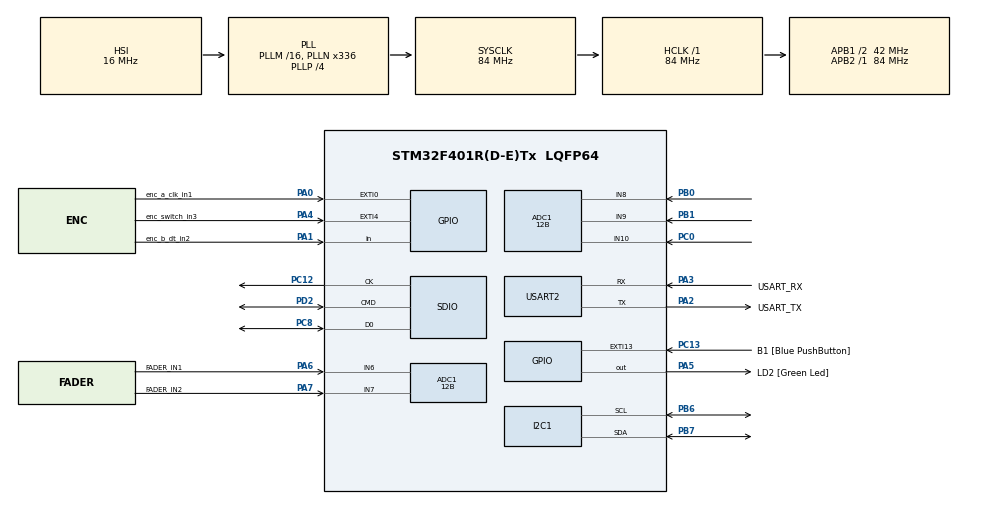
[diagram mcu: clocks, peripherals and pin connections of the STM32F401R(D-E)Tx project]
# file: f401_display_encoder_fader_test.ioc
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ADC1.Channel-0\#ChannelRegularConversion=ADC_CHANNEL_6
ADC1.Channel-1\#ChannelRegularConversion=ADC_CHANNEL_7
ADC1.Channel-2\#ChannelInjectedConversion=ADC_CHANNEL_6
ADC1.Channel-5\#ChannelRegularConversion=ADC_CHANNEL_8
ADC1.Channel-6\#ChannelRegularConversion=ADC_CHANNEL_9
ADC1.Channel-7\#ChannelRegularConversion=ADC_CHANNEL_10
ADC1.ContinuousConvMode=ENABLE
ADC1.DMAContinuousRequests=ENABLE
ADC1.DiscontinuousConvMode=DISABLE
ADC1.EOCSelection=ADC_EOC_SINGLE_CONV
ADC1.InjNumberOfConversion=1
ADC1.InjectedOffset-2\#ChannelInjectedConversion=0
ADC1.InjectedRank-2\#ChannelInjectedConversion=1
ADC1.NbrOfConversion=5
ADC1.NbrOfConversionFlag=1
ADC1.Rank-0\#ChannelRegularConversion=1
ADC1.Rank-1\#ChannelRegularConversion=2
ADC1.Rank-5\#ChannelRegularConversion=3
ADC1.Rank-6\#ChannelRegularConversion=4
ADC1.Rank-7\#ChannelRegularConversion=5
ADC1.Resolution=ADC_RESOLUTION_12B
ADC1.SamplingTime-0\#ChannelRegularConversion=ADC_SAMPLETIME_3CYCLES
ADC1.SamplingTime-1\#ChannelRegularConversion=ADC_SAMPLETIME_3CYCLES
ADC1.SamplingTime-2\#ChannelInjectedConversion=ADC_SAMPLETIME_3CYCLES
ADC1.SamplingTime-5\#ChannelRegularConversion=ADC_SAMPLETIME_3CYCLES
ADC1.SamplingTime-6\#ChannelRegularConversion=ADC_SAMPLETIME_3CYCLES
ADC1.SamplingTime-7\#ChannelRegularConversion=ADC_SAMPLETIME_3CYCLES
ADC1.master=1
Dma.ADC1.0.Direction=DMA_PERIPH_TO_MEMORY
Dma.ADC1.0.FIFOMode=DMA_FIFOMODE_DISABLE
Dma.ADC1.0.Instance=DMA2_Stream0
Dma.ADC1.0.MemDataAlignment=DMA_MDATAALIGN_WORD
Dma.ADC1.0.MemInc=DMA_MINC_ENABLE
Dma.ADC1.0.Mode=DMA_CIRCULAR
Dma.ADC1.0.PeriphDataAlignment=DMA_PDATAALIGN_WORD
Dma.ADC1.0.PeriphInc=DMA_PINC_DISABLE
Dma.ADC1.0.Priority=DMA_PRIORITY_LOW
Dma.Request0=ADC1
Dma.Request1=SDIO_RX
Dma.Request2=SDIO_TX
Dma.SDIO_RX.1.Direction=DMA_PERIPH_TO_MEMORY
Dma.SDIO_RX.1.FIFOMode=DMA_FIFOMODE_ENABLE
Dma.SDIO_RX.1.FIFOThreshold=DMA_FIFO_THRESHOLD_FULL
Dma.SDIO_RX.1.Instance=DMA2_Stream3
Dma.SDIO_RX.1.MemBurst=DMA_MBURST_INC4
Dma.SDIO_RX.1.MemDataAlignment=DMA_MDATAALIGN_WORD
Dma.SDIO_RX.1.MemInc=DMA_MINC_ENABLE
Dma.SDIO_RX.1.Mode=DMA_PFCTRL
Dma.SDIO_RX.1.PeriphBurst=DMA_PBURST_INC4
Dma.SDIO_RX.1.PeriphDataAlignment=DMA_PDATAALIGN_WORD
Dma.SDIO_RX.1.PeriphInc=DMA_PINC_DISABLE
Dma.SDIO_RX.1.Priority=DMA_PRIORITY_LOW
Dma.SDIO_TX.2.Direction=DMA_MEMORY_TO_PERIPH
Dma.SDIO_TX.2.FIFOMode=DMA_FIFOMODE_ENABLE
Dma.SDIO_TX.2.FIFOThreshold=DMA_FIFO_THRESHOLD_FULL
Dma.SDIO_TX.2.Instance=DMA2_Stream6
Dma.SDIO_TX.2.MemBurst=DMA_MBURST_INC4
Dma.SDIO_TX.2.MemDataAlignment=DMA_MDATAALIGN_WORD
Dma.SDIO_TX.2.MemInc=DMA_MINC_ENABLE
Dma.SDIO_TX.2.Mode=DMA_PFCTRL
Dma.SDIO_TX.2.PeriphBurst=DMA_PBURST_INC4
Dma.SDIO_TX.2.PeriphDataAlignment=DMA_PDATAALIGN_WORD
Dma.SDIO_TX.2.PeriphInc=DMA_PINC_DISABLE
Dma.SDIO_TX.2.Priority=DMA_PRIORITY_LOW
FATFS._MAX_SS=4096
FATFS._USE_LFN=1
Mcu.Family=STM32F4
Mcu.Name=STM32F401R(D-E)Tx
Mcu.Package=LQFP64
NVIC.ADC_IRQn=true\:0\:0\:false\:false\:true\:true\:true\:true
NVIC.DMA2_Stream0_IRQn=true\:0\:0\:false\:false\:true\:false\:true\:true
NVIC.DMA2_Stream3_IRQn=true\:0\:0\:false\:false\:true\:false\:true\:true
NVIC.DMA2_Stream6_IRQn=true\:0\:0\:false\:false\:true\:false\:true\:true
NVIC.EXTI0_IRQn=true\:0\:0\:false\:false\:true\:true\:true\:true
NVIC.EXTI15_10_IRQn=true\:0\:0\:false\:false\:true\:true\:true\:true
NVIC.EXTI4_IRQn=true\:0\:0\:false\:false\:true\:true\:true\:true
NVIC.FPU_IRQn=true\:0\:0\:false\:false\:true\:true\:false\:true
NVIC.PriorityGroup=NVIC_PRIORITYGROUP_0
NVIC.SDIO_IRQn=true\:0\:0\:false\:false\:true\:true\:true\:true
NVIC.TIM3_IRQn=true\:0\:0\:false\:false\:true\:true\:true\:true
NVIC.TIM5_IRQn=true\:0\:0\:false\:false\:true\:true\:true\:true
NVIC.USART2_IRQn=true\:0\:0\:false\:false\:true\:true\:true\:true
PA0-WKUP.GPIO_Label=enc_a_clk_in1
PA0-WKUP.GPIO_PuPd=GPIO_PULLUP
PA0-WKUP.Signal=GPXTI0
PA1.GPIO_Label=enc_b_dt_in2
PA1.GPIO_PuPd=GPIO_PULLUP
PA1.Signal=GPIO_Input
PA13.GPIO_Label=TMS
PA13.Mode=Serial_Wire
PA13.Signal=SYS_JTMS-SWDIO
PA14.GPIO_Label=TCK
PA14.Mode=Serial_Wire
PA14.Signal=SYS_JTCK-SWCLK
PA2.GPIO_Label=USART_TX
PA2.GPIO_Mode=GPIO_MODE_AF_PP
PA2.GPIO_PuPd=GPIO_NOPULL
PA2.GPIO_Speed=GPIO_SPEED_FREQ_LOW
PA2.Mode=Asynchronous
PA2.Signal=USART2_TX
PA3.GPIO_Label=USART_RX
PA3.GPIO_Mode=GPIO_MODE_AF_PP
PA3.GPIO_PuPd=GPIO_NOPULL
PA3.GPIO_Speed=GPIO_SPEED_FREQ_LOW
PA3.Mode=Asynchronous
PA3.Signal=USART2_RX
PA4.GPIO_Label=enc_switch_in3
PA4.GPIO_PuPd=GPIO_PULLUP
PA4.Signal=GPXTI4
PA5.GPIO_Label=LD2 [Green Led]
PA5.GPIO_Mode=GPIO_MODE_OUTPUT_PP
PA5.GPIO_PuPd=GPIO_NOPULL
PA5.GPIO_Speed=GPIO_SPEED_FREQ_LOW
PA5.Signal=GPIO_Output
PA6.GPIO_Label=FADER_IN1
PA6.Signal=ADCx_IN6
PA7.GPIO_Label=FADER_IN2
PA7.Signal=ADCx_IN7
PB0.Signal=ADCx_IN8
PB1.Signal=ADCx_IN9
PB3.GPIO_Label=SWO
PB3.Signal=SYS_JTDO-SWO
PB6.GPIO_Pu=GPIO_PULLUP
PB6.Mode=I2C
PB6.Signal=I2C1_SCL
PB7.GPIO_Pu=GPIO_PULLUP
PB7.Mode=I2C
PB7.Signal=I2C1_SDA
PC0.Signal=ADCx_IN10
PC10.Signal=SDIO_D2
PC11.Signal=SDIO_D3
PC12.Mode=SD_1_bit
PC12.Signal=SDIO_CK
PC13-ANTI_TAMP.GPIO_Label=B1 [Blue PushButton]
PC13-ANTI_TAMP.GPIO_ModeDefaultEXTI=GPIO_MODE_IT_FALLING
PC13-ANTI_TAMP.GPIO_PuPd=GPIO_NOPULL
PC13-ANTI_TAMP.Signal=GPXTI13
PC14-OSC32_IN.Mode=LSE-External-Oscillator
PC14-OSC32_IN.Signal=RCC_OSC32_IN
PC15-OSC32_OUT.Mode=LSE-External-Oscillator
PC15-OSC32_OUT.Signal=RCC_OSC32_OUT
PC8.GPIO_PuPd=GPIO_PULLUP
PC8.Mode=SD_1_bit
PC8.Signal=SDIO_D0
PC9.Signal=SDIO_D1
PD2.GPIO_PuPd=GPIO_PULLUP
PD2.Mode=SD_1_bit
PD2.Signal=SDIO_CMD
PH0\ -\ OSC_IN.Mode=HSE-External-Clock-Source
PH0\ -\ OSC_IN.Signal=RCC_OSC_IN
PH1\ -\ OSC_OUT.Mode=HSE-External-Clock-Source
PH1\ -\ OSC_OUT.Signal=RCC_OSC_OUT
ProjectManager.HeapSize=0x200
ProjectManager.StackSize=0x400
ProjectManager.TargetToolchain=STM32CubeIDE
RCC.48MHZClocksFreq_Value=48000000
RCC.AHBFreq_Value=84000000
RCC.APB1CLKDivider=RCC_HCLK_DIV2
RCC.APB1Freq_Value=42000000
RCC.APB1TimFreq_Value=84000000
RCC.APB2Freq_Value=84000000
RCC.APB2TimFreq_Value=84000000
RCC.CortexFreq_Value=84000000
RCC.HCLKFreq_Value=84000000
RCC.HSE_VALUE=8000000
RCC.HSI_VALUE=16000000
RCC.PLLN=336
RCC.PLLP=RCC_PLLP_DIV4
RCC.PLLQ=7
RCC.SYSCLKFreq_VALUE=84000000
RCC.SYSCLKSource=RCC_SYSCLKSOURCE_PLLCLK
RCC.VCOOutputFreq_Value=336000000
SH.ADCx_IN10.0=ADC1_IN10,IN10
SH.ADCx_IN6.0=ADC1_IN6,IN6
SH.ADCx_IN7.0=ADC1_IN7,IN7
SH.ADCx_IN8.0=ADC1_IN8,IN8
SH.ADCx_IN9.0=ADC1_IN9,IN9
TIM3.Period=5000
TIM3.Prescaler=1680
TIM5.Period=8400
TIM5.Prescaler=100
USART2.VirtualMode=VM_ASYNC
VP_FATFS_VS_SDIO.Mode=SDIO
VP_TIM3_VS_ClockSourceINT.Mode=Internal
VP_TIM3_VS_OPM.Mode=OPM_bit
VP_TIM5_VS_ClockSourceINT.Mode=Internal
VP_TIM5_VS_OPM.Mode=OPM_bit
board=NUCLEO-F401RE

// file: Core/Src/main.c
/* USER CODE BEGIN Header */
/**
  ******************************************************************************
  * @file           : main.c
  * @brief          : Main program body
  ******************************************************************************
  * @attention
  *
  * Copyright (c) 2024 STMicroelectronics.
  * All rights reserved.
  *
  * This software is licensed under terms that can be found in the LICENSE file
  * in the root directory of this software component.
  * If no LICENSE file comes with this software, it is provided AS-IS.
  *
  ******************************************************************************
  */
/* USER CODE END Header */
#include "main.h"
#include "fatfs.h"

/* USER CODE BEGIN Includes */
#include <stdlib.h>
#include <stdbool.h>
#include "ssd1306.h"
#include "fonts.h"
#include "display.h"
#include "filemanager.h"
#include "audio.h"
#include "interface.h"
#include "util.h"
/* USER CODE END Includes */

ADC_HandleTypeDef hadc1;
DMA_HandleTypeDef hdma_adc1;

I2C_HandleTypeDef hi2c1;

SD_HandleTypeDef hsd;
DMA_HandleTypeDef hdma_sdio_rx;
DMA_HandleTypeDef hdma_sdio_tx;

TIM_HandleTypeDef htim3;
TIM_HandleTypeDef htim5;

UART_HandleTypeDef huart2;

/* USER CODE BEGIN PV */
// Filemanager
FileManager fm;
FileManager fmCopy;
char lfn[MAX_FILENAME_LENGTH];
FILINFO fno;
FATFS FatFs; 	//Fatfs handle
FIL file;        // File-Objekt für FatFs
UINT bytesWritten; // Anzahl der geschriebenen Bytes
FRESULT fres; //Result after operations
DIR dir; //Directory

char fileNamesSDCard[MAX_FILES][MAX_FILENAME_LENGTH];
int fileCount = 0;

bool adcDmaFlag = false;
bool updateScreenFlag = false;
//bool sortFilesFlag = false;

uint32_t adcBuffer[NUM_CHANNELS] = {0};

/* USER CODE END PV */

void SystemClock_Config(void);
static void MX_GPIO_Init(void);
static void MX_DMA_Init(void);
static void MX_USART2_UART_Init(void);
static void MX_I2C1_Init(void);
static void MX_TIM5_Init(void);
static void MX_ADC1_Init(void);
static void MX_TIM3_Init(void);
static void MX_SDIO_SD_Init(void);
/* USER CODE BEGIN PFP */
void writeStringToFile(const char *filename, const char *str);
/* USER CODE END PFP */

int main(void)
{

  /* MCU Configuration--------------------------------------------------------*/

  /* Reset of all peripherals, Initializes the Flash interface and the Systick. */
  HAL_Init();

  /* Configure the system clock */
  SystemClock_Config();

  /* Initialize all configured peripherals */
  MX_GPIO_Init();
  MX_DMA_Init();
  MX_USART2_UART_Init();
  MX_I2C1_Init();
  MX_TIM5_Init();
  MX_ADC1_Init();
  MX_TIM3_Init();
  MX_SDIO_SD_Init();
  MX_FATFS_Init();
  /* USER CODE BEGIN 2 */
  //Start DMA for Read Faders
  HAL_ADC_Start_DMA(&hadc1, adcBuffer, NUM_CHANNELS);

  //Open the file system
  fres = f_mount(&FatFs, SDPath, 1); //1=mount now
  if (fres != FR_OK) {
      //uart_printf("f_mount error (%i)\r\n", fres);
      while(1);
  }
  //creatFileManagerFile();

  listFiles("/");
  writeStringToFile("/test.txt", "hallo hallo");
  // Close the file system
  /*fres = f_mount(NULL, "", 0);
  if (fres != FR_OK) {
      //uart_printf("f_mount error (%i)\r\n", fres);
      while(1);
  }*/
  // Init lcd using one of the stm32HAL i2c typedefs
  screenInit(fileNamesSDCard);

  __HAL_TIM_CLEAR_FLAG(&htim3, TIM_FLAG_UPDATE);
  HAL_TIM_Base_Start_IT(&htim3);
  // uint32_t num_samples = 2000;
  // int16_t samples[num_samples];
  // generateWaveform(samples, num_samples);
  // drawWaveform(&hi2c1,samples, num_samples);
  /* USER CODE END 2 */

  /* Infinite loop */
  /* USER CODE BEGIN WHILE */
  while (1)
  {
    // Displaying the files
	if(updateScreenFlag){
		compareADCValues();
		updateScreenFlag = false;
		if(sortFilesFlag == true){
		sortFiles();
		setCursor(&fm);
		sortFilesFlag = false;
		}
		updateScreen();
		writeFileManagerOnSD();
		readFileManagerFromSD();
		if(adcDmaFlag){
	    HAL_ADC_Start_DMA(&hadc1, adcBuffer, NUM_CHANNELS);
	    adcDmaFlag = false;
		}
	}
    /* USER CODE END WHILE */

  }
}

void SystemClock_Config(void)
{
  RCC_OscInitTypeDef RCC_OscInitStruct = {0};
  RCC_ClkInitTypeDef RCC_ClkInitStruct = {0};

  /** Configure the main internal regulator output voltage
  */
  __HAL_RCC_PWR_CLK_ENABLE();
  __HAL_PWR_VOLTAGESCALING_CONFIG(PWR_REGULATOR_VOLTAGE_SCALE2);

  /** Initializes the RCC Oscillators according to the specified parameters
  * in the RCC_OscInitTypeDef structure.
  */
  RCC_OscInitStruct.OscillatorType = RCC_OSCILLATORTYPE_HSI;
  RCC_OscInitStruct.HSIState = RCC_HSI_ON;
  RCC_OscInitStruct.HSICalibrationValue = RCC_HSICALIBRATION_DEFAULT;
  RCC_OscInitStruct.PLL.PLLState = RCC_PLL_ON;
  RCC_OscInitStruct.PLL.PLLSource = RCC_PLLSOURCE_HSI;
  RCC_OscInitStruct.PLL.PLLM = 16;
  RCC_OscInitStruct.PLL.PLLN = 336;
  RCC_OscInitStruct.PLL.PLLP = RCC_PLLP_DIV4;
  RCC_OscInitStruct.PLL.PLLQ = 7;
  if (HAL_RCC_OscConfig(&RCC_OscInitStruct) != HAL_OK)
  {
    Error_Handler();
  }

  /** Initializes the CPU, AHB and APB buses clocks
  */
  RCC_ClkInitStruct.ClockType = RCC_CLOCKTYPE_HCLK|RCC_CLOCKTYPE_SYSCLK
                              |RCC_CLOCKTYPE_PCLK1|RCC_CLOCKTYPE_PCLK2;
  RCC_ClkInitStruct.SYSCLKSource = RCC_SYSCLKSOURCE_PLLCLK;
  RCC_ClkInitStruct.AHBCLKDivider = RCC_SYSCLK_DIV1;
  RCC_ClkInitStruct.APB1CLKDivider = RCC_HCLK_DIV2;
  RCC_ClkInitStruct.APB2CLKDivider = RCC_HCLK_DIV1;

  if (HAL_RCC_ClockConfig(&RCC_ClkInitStruct, FLASH_LATENCY_2) != HAL_OK)
  {
    Error_Handler();
  }
}

static void MX_ADC1_Init(void)
{

  ADC_ChannelConfTypeDef sConfig = {0};
  ADC_InjectionConfTypeDef sConfigInjected = {0};

  /** Configure the global features of the ADC (Clock, Resolution, Data Alignment and number of conversion)
  */
  hadc1.Instance = ADC1;
  hadc1.Init.ClockPrescaler = ADC_CLOCK_SYNC_PCLK_DIV4;
  hadc1.Init.Resolution = ADC_RESOLUTION_12B;
  hadc1.Init.ScanConvMode = ENABLE;
  hadc1.Init.ContinuousConvMode = ENABLE;
  hadc1.Init.DiscontinuousConvMode = DISABLE;
  hadc1.Init.ExternalTrigConvEdge = ADC_EXTERNALTRIGCONVEDGE_NONE;
  hadc1.Init.ExternalTrigConv = ADC_SOFTWARE_START;
  hadc1.Init.DataAlign = ADC_DATAALIGN_RIGHT;
  hadc1.Init.NbrOfConversion = 5;
  hadc1.Init.DMAContinuousRequests = ENABLE;
  hadc1.Init.EOCSelection = ADC_EOC_SINGLE_CONV;
  if (HAL_ADC_Init(&hadc1) != HAL_OK)
  {
    Error_Handler();
  }

  /** Configure for the selected ADC regular channel its corresponding rank in the sequencer and its sample time.
  */
  sConfig.Channel = ADC_CHANNEL_6;
  sConfig.Rank = 1;
  sConfig.SamplingTime = ADC_SAMPLETIME_3CYCLES;
  if (HAL_ADC_ConfigChannel(&hadc1, &sConfig) != HAL_OK)
  {
    Error_Handler();
  }

  /** Configure for the selected ADC regular channel its corresponding rank in the sequencer and its sample time.
  */
  sConfig.Channel = ADC_CHANNEL_7;
  sConfig.Rank = 2;
  if (HAL_ADC_ConfigChannel(&hadc1, &sConfig) != HAL_OK)
  {
    Error_Handler();
  }

  /** Configure for the selected ADC regular channel its corresponding rank in the sequencer and its sample time.
  */
  sConfig.Channel = ADC_CHANNEL_8;
  sConfig.Rank = 3;
  if (HAL_ADC_ConfigChannel(&hadc1, &sConfig) != HAL_OK)
  {
    Error_Handler();
  }

  /** Configure for the selected ADC regular channel its corresponding rank in the sequencer and its sample time.
  */
  sConfig.Channel = ADC_CHANNEL_9;
  sConfig.Rank = 4;
  if (HAL_ADC_ConfigChannel(&hadc1, &sConfig) != HAL_OK)
  {
    Error_Handler();
  }

  /** Configure for the selected ADC regular channel its corresponding rank in the sequencer and its sample time.
  */
  sConfig.Channel = ADC_CHANNEL_10;
  sConfig.Rank = 5;
  if (HAL_ADC_ConfigChannel(&hadc1, &sConfig) != HAL_OK)
  {
    Error_Handler();
  }

  /** Configures for the selected ADC injected channel its corresponding rank in the sequencer and its sample time
  */
  sConfigInjected.InjectedChannel = ADC_CHANNEL_6;
  sConfigInjected.InjectedRank = 1;
  sConfigInjected.InjectedNbrOfConversion = 1;
  sConfigInjected.InjectedSamplingTime = ADC_SAMPLETIME_3CYCLES;
  sConfigInjected.ExternalTrigInjecConvEdge = ADC_EXTERNALTRIGINJECCONVEDGE_NONE;
  sConfigInjected.ExternalTrigInjecConv = ADC_INJECTED_SOFTWARE_START;
  sConfigInjected.AutoInjectedConv = DISABLE;
  sConfigInjected.InjectedDiscontinuousConvMode = DISABLE;
  sConfigInjected.InjectedOffset = 0;
  if (HAL_ADCEx_InjectedConfigChannel(&hadc1, &sConfigInjected) != HAL_OK)
  {
    Error_Handler();
  }

}

static void MX_I2C1_Init(void)
{

  hi2c1.Instance = I2C1;
  hi2c1.Init.ClockSpeed = 100000;
  hi2c1.Init.DutyCycle = I2C_DUTYCYCLE_2;
  hi2c1.Init.OwnAddress1 = 0;
  hi2c1.Init.AddressingMode = I2C_ADDRESSINGMODE_7BIT;
  hi2c1.Init.DualAddressMode = I2C_DUALADDRESS_DISABLE;
  hi2c1.Init.OwnAddress2 = 0;
  hi2c1.Init.GeneralCallMode = I2C_GENERALCALL_DISABLE;
  hi2c1.Init.NoStretchMode = I2C_NOSTRETCH_DISABLE;
  if (HAL_I2C_Init(&hi2c1) != HAL_OK)
  {
    Error_Handler();
  }

}

static void MX_SDIO_SD_Init(void)
{

  hsd.Instance = SDIO;
  hsd.Init.ClockEdge = SDIO_CLOCK_EDGE_RISING;
  hsd.Init.ClockBypass = SDIO_CLOCK_BYPASS_DISABLE;
  hsd.Init.ClockPowerSave = SDIO_CLOCK_POWER_SAVE_DISABLE;
  hsd.Init.BusWide = SDIO_BUS_WIDE_1B;
  hsd.Init.HardwareFlowControl = SDIO_HARDWARE_FLOW_CONTROL_DISABLE;
  hsd.Init.ClockDiv = 0;
  /* USER CODE BEGIN SDIO_Init 2 */
  if (HAL_SD_Init(&hsd) != HAL_OK)
  {
    Error_Handler();
  }
  if (HAL_SD_ConfigWideBusOperation(&hsd, SDIO_BUS_WIDE_4B) != HAL_OK)
  {
    Error_Handler();
  }

  /* USER CODE END SDIO_Init 2 */

}

static void MX_TIM3_Init(void)
{

  TIM_ClockConfigTypeDef sClockSourceConfig = {0};
  TIM_MasterConfigTypeDef sMasterConfig = {0};

  htim3.Instance = TIM3;
  htim3.Init.Prescaler = 1680;
  htim3.Init.CounterMode = TIM_COUNTERMODE_UP;
  htim3.Init.Period = 5000;
  htim3.Init.ClockDivision = TIM_CLOCKDIVISION_DIV1;
  htim3.Init.AutoReloadPreload = TIM_AUTORELOAD_PRELOAD_DISABLE;
  if (HAL_TIM_Base_Init(&htim3) != HAL_OK)
  {
    Error_Handler();
  }
  sClockSourceConfig.ClockSource = TIM_CLOCKSOURCE_INTERNAL;
  if (HAL_TIM_ConfigClockSource(&htim3, &sClockSourceConfig) != HAL_OK)
  {
    Error_Handler();
  }
  if (HAL_TIM_OnePulse_Init(&htim3, TIM_OPMODE_SINGLE) != HAL_OK)
  {
    Error_Handler();
  }
  sMasterConfig.MasterOutputTrigger = TIM_TRGO_RESET;
  sMasterConfig.MasterSlaveMode = TIM_MASTERSLAVEMODE_DISABLE;
  if (HAL_TIMEx_MasterConfigSynchronization(&htim3, &sMasterConfig) != HAL_OK)
  {
    Error_Handler();
  }

}

static void MX_TIM5_Init(void)
{

  TIM_ClockConfigTypeDef sClockSourceConfig = {0};
  TIM_MasterConfigTypeDef sMasterConfig = {0};

  htim5.Instance = TIM5;
  htim5.Init.Prescaler = 100;
  htim5.Init.CounterMode = TIM_COUNTERMODE_UP;
  htim5.Init.Period = 8400;
  htim5.Init.ClockDivision = TIM_CLOCKDIVISION_DIV1;
  htim5.Init.AutoReloadPreload = TIM_AUTORELOAD_PRELOAD_DISABLE;
  if (HAL_TIM_Base_Init(&htim5) != HAL_OK)
  {
    Error_Handler();
  }
  sClockSourceConfig.ClockSource = TIM_CLOCKSOURCE_INTERNAL;
  if (HAL_TIM_ConfigClockSource(&htim5, &sClockSourceConfig) != HAL_OK)
  {
    Error_Handler();
  }
  if (HAL_TIM_OnePulse_Init(&htim5, TIM_OPMODE_SINGLE) != HAL_OK)
  {
    Error_Handler();
  }
  sMasterConfig.MasterOutputTrigger = TIM_TRGO_RESET;
  sMasterConfig.MasterSlaveMode = TIM_MASTERSLAVEMODE_DISABLE;
  if (HAL_TIMEx_MasterConfigSynchronization(&htim5, &sMasterConfig) != HAL_OK)
  {
    Error_Handler();
  }

}

static void MX_USART2_UART_Init(void)
{

  huart2.Instance = USART2;
  huart2.Init.BaudRate = 115200;
  huart2.Init.WordLength = UART_WORDLENGTH_8B;
  huart2.Init.StopBits = UART_STOPBITS_1;
  huart2.Init.Parity = UART_PARITY_NONE;
  huart2.Init.Mode = UART_MODE_TX_RX;
  huart2.Init.HwFlowCtl = UART_HWCONTROL_NONE;
  huart2.Init.OverSampling = UART_OVERSAMPLING_16;
  if (HAL_UART_Init(&huart2) != HAL_OK)
  {
    Error_Handler();
  }

}

static void MX_DMA_Init(void)
{

  /* DMA controller clock enable */
  __HAL_RCC_DMA2_CLK_ENABLE();

  /* DMA interrupt init */
  /* DMA2_Stream0_IRQn interrupt configuration */
  HAL_NVIC_SetPriority(DMA2_Stream0_IRQn, 0, 0);
  HAL_NVIC_EnableIRQ(DMA2_Stream0_IRQn);
  /* DMA2_Stream3_IRQn interrupt configuration */
  HAL_NVIC_SetPriority(DMA2_Stream3_IRQn, 0, 0);
  HAL_NVIC_EnableIRQ(DMA2_Stream3_IRQn);
  /* DMA2_Stream6_IRQn interrupt configuration */
  HAL_NVIC_SetPriority(DMA2_Stream6_IRQn, 0, 0);
  HAL_NVIC_EnableIRQ(DMA2_Stream6_IRQn);

}

static void MX_GPIO_Init(void)
{
  GPIO_InitTypeDef GPIO_InitStruct = {0};

  /* GPIO Ports Clock Enable */
  __HAL_RCC_GPIOC_CLK_ENABLE();
  __HAL_RCC_GPIOH_CLK_ENABLE();
  __HAL_RCC_GPIOA_CLK_ENABLE();
  __HAL_RCC_GPIOB_CLK_ENABLE();
  __HAL_RCC_GPIOD_CLK_ENABLE();

  /*Configure GPIO pin Output Level */
  HAL_GPIO_WritePin(LD2_GPIO_Port, LD2_Pin, GPIO_PIN_RESET);

  /*Configure GPIO pin : B1_Pin */
  GPIO_InitStruct.Pin = B1_Pin;
  GPIO_InitStruct.Mode = GPIO_MODE_IT_FALLING;
  GPIO_InitStruct.Pull = GPIO_NOPULL;
  HAL_GPIO_Init(B1_GPIO_Port, &GPIO_InitStruct);

  /*Configure GPIO pins : enc_a_clk_in1_Pin enc_switch_in3_Pin */
  GPIO_InitStruct.Pin = enc_a_clk_in1_Pin|enc_switch_in3_Pin;
  GPIO_InitStruct.Mode = GPIO_MODE_IT_RISING;
  GPIO_InitStruct.Pull = GPIO_PULLUP;
  HAL_GPIO_Init(GPIOA, &GPIO_InitStruct);

  /*Configure GPIO pin : enc_b_dt_in2_Pin */
  GPIO_InitStruct.Pin = enc_b_dt_in2_Pin;
  GPIO_InitStruct.Mode = GPIO_MODE_INPUT;
  GPIO_InitStruct.Pull = GPIO_PULLUP;
  HAL_GPIO_Init(enc_b_dt_in2_GPIO_Port, &GPIO_InitStruct);

  /*Configure GPIO pin : LD2_Pin */
  GPIO_InitStruct.Pin = LD2_Pin;
  GPIO_InitStruct.Mode = GPIO_MODE_OUTPUT_PP;
  GPIO_InitStruct.Pull = GPIO_NOPULL;
  GPIO_InitStruct.Speed = GPIO_SPEED_FREQ_LOW;
  HAL_GPIO_Init(LD2_GPIO_Port, &GPIO_InitStruct);

  /* EXTI interrupt init*/
  HAL_NVIC_SetPriority(EXTI0_IRQn, 0, 0);
  HAL_NVIC_EnableIRQ(EXTI0_IRQn);

  HAL_NVIC_SetPriority(EXTI4_IRQn, 0, 0);
  HAL_NVIC_EnableIRQ(EXTI4_IRQn);

  HAL_NVIC_SetPriority(EXTI15_10_IRQn, 0, 0);
  HAL_NVIC_EnableIRQ(EXTI15_10_IRQn);

}

/* USER CODE BEGIN 4 */
void writeStringToFile(const char *filename, const char *str)
{
	FIL file;        // FatFs File-Objekt
	FRESULT res;     // FatFs Ergebniscode
	UINT bytesWritten; // Anzahl der geschriebenen Bytes

    // Datei im Schreibmodus öffnen oder erstellen
    res = f_open(&file, "test.txt", FA_WRITE | FA_CREATE_ALWAYS);
    if (res != FR_OK)
    {
        printf("Fehler beim Öffnen/Erstellen der Datei %s: %d\n", filename, res);
        return;
    }

    // String in die Datei schreiben
    res = f_write(&file, "Das", 4, &bytesWritten);

 if (res != FR_OK || bytesWritten != strlen(str))
    {
        printf("Fehler beim Schreiben der Daten in die Datei %s\n", filename);
        f_close(&file);
        return;
    }

    // Datei schließen
    f_close(&file);

    printf("String erfolgreich in Datei '%s' geschrieben.\n", filename);
}
/* USER CODE END 4 */

void Error_Handler(void)
{
  __disable_irq();
  while (1)
  {
  }
}
